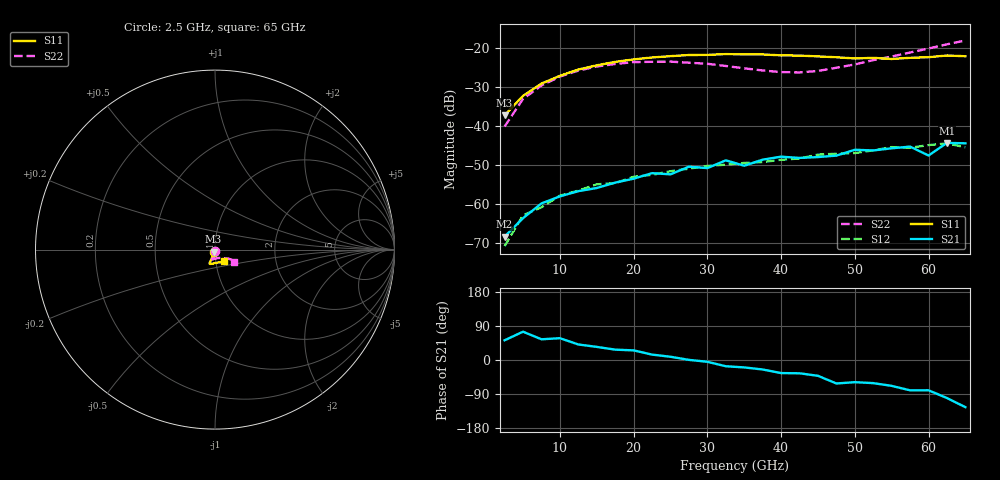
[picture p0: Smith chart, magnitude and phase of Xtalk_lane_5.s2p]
! File created by SignalIntegrity v1.5.1: Signal and Power Integrity Tools
! https://github.com/Nubis-Communications/SignalIntegrity
# MHz S MA R 50.0
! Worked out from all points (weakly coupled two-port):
!   26 points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, 2.5 GHz to 65 GHz, reference 50 ohm
!   highest |S21| = -44.32 dB at 62.5 GHz (marker M1); lowest = -68.4 dB at 2.5 GHz (marker M2)
!   lowest |S11| = -37.2 dB at 2.5 GHz (marker M3), VSWR 1.03, Z = 49.2 - j1.11 ohm
!   |S11| at or under -10 dB: start of sweep to end of sweep
!   |S22| runs from -40.1 to -17.9 dB; largest |S21 - S12| = 0.0026
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2500  0.01384 -125.1  0.0003785 52.0  0.0002846 88.0  0.00987 -93.7
5000  0.0245 -111.4  0.000653 74.7  0.0007123 60.2  0.0224 -94.3
7500  0.03528 -110.5  0.001011 54.6  0.0009009 61.7  0.03333 -97.3
10000  0.0445 -109.0  0.001245 57.6  0.001274 49.0  0.04342 -100.7
15000  0.06064 -110.4  0.001598 34.6  0.001781 35.0  0.05856 -106.5
17500  0.06717 -111.4  0.001873 27.3  0.001845 31.2  0.06313 -108.2
20000  0.07232 -111.7  0.002104 25.4  0.002228 24.2  0.06669 -110.2
22500  0.07656 -112.1  0.002479 14.2  0.002356 18.7  0.06732 -110.9
25000  0.07959 -111.3  0.002395 8.5  0.002627 9.4  0.06769 -111.3
27500  0.08231 -111.6  0.003003 0.4  0.002832 0.8  0.06551 -110.9
30000  0.08267 -110.5  0.00288 -4.7  0.003074 -3.2  0.06349 -109.0
32500  0.08456 -110.1  0.003626 -16.5  0.003188 -11.1  0.05944 -106.8
35000  0.08394 -108.3  0.003091 -19.6  0.003357 -18.9  0.05547 -101.8
40000  0.08146 -103.8  0.004043 -34.5  0.003687 -33.8  0.04962 -86.0
45000  0.07899 -97.8  0.003995 -41.7  0.004296 -42.8  0.05128 -65.0
47500  0.07705 -95.2  0.004171 -62.0  0.00441 -51.7  0.05646 -55.9
50000  0.07431 -89.0  0.004958 -58.5  0.004495 -58.2  0.06223 -48.4
55000  0.07323 -77.8  0.005177 -68.3  0.005365 -73.0  0.07868 -38.9
57500  0.07575 -71.6  0.005449 -80.1  0.00526 -79.2  0.0887 -34.1
60000  0.07716 -64.3  0.004183 -79.9  0.005698 -92.0  0.09987 -32.5
62500  0.08118 -59.0  0.006084 -100.5  0.005988 -98.0  0.113 -30.7
65000  0.07936 -51.2  0.006009 -124.5  0.005348 -98.7  0.1268 -31.8
